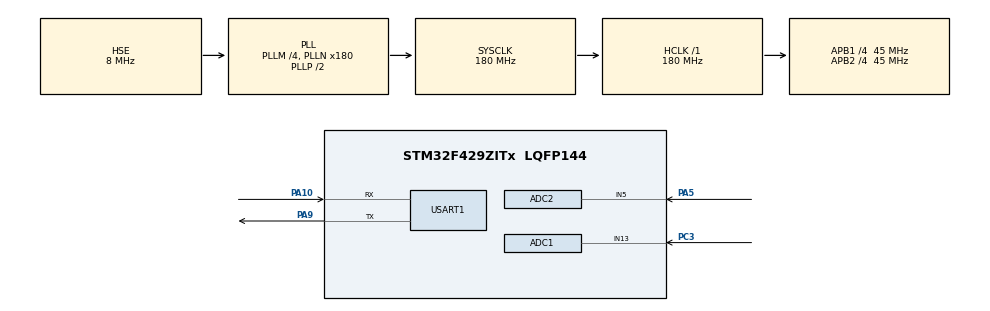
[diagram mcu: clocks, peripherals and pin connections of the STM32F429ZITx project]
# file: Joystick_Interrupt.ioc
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ADC1.Channel-0\#ChannelRegularConversion=ADC_CHANNEL_13
ADC1.ClockPrescaler=ADC_CLOCK_SYNC_PCLK_DIV4
ADC1.NbrOfConversionFlag=1
ADC1.Rank-0\#ChannelRegularConversion=1
ADC1.Resolution=ADC_RESOLUTION_8B
ADC1.SamplingTime-0\#ChannelRegularConversion=ADC_SAMPLETIME_3CYCLES
ADC1.master=1
ADC2.Channel-0\#ChannelRegularConversion=ADC_CHANNEL_5
ADC2.ClockPrescaler=ADC_CLOCK_SYNC_PCLK_DIV4
ADC2.NbrOfConversionFlag=1
ADC2.Rank-0\#ChannelRegularConversion=1
ADC2.Resolution=ADC_RESOLUTION_8B
ADC2.SamplingTime-0\#ChannelRegularConversion=ADC_SAMPLETIME_3CYCLES
Mcu.Family=STM32F4
Mcu.Name=STM32F429ZITx
Mcu.Package=LQFP144
NVIC.ADC_IRQn=true\:0\:0\:false\:false\:true\:true\:true\:true
NVIC.PriorityGroup=NVIC_PRIORITYGROUP_4
PA10.Mode=Asynchronous
PA10.Signal=USART1_RX
PA5.Signal=ADCx_IN5
PA9.Mode=Asynchronous
PA9.Signal=USART1_TX
PC3.Signal=ADCx_IN13
PH0/OSC_IN.Mode=HSE-External-Oscillator
PH0/OSC_IN.Signal=RCC_OSC_IN
PH1/OSC_OUT.Mode=HSE-External-Oscillator
PH1/OSC_OUT.Signal=RCC_OSC_OUT
ProjectManager.HeapSize=0x200
ProjectManager.StackSize=0x400
ProjectManager.TargetToolchain=STM32CubeIDE
RCC.48MHZClocksFreq_Value=90000000
RCC.AHBFreq_Value=180000000
RCC.APB1CLKDivider=RCC_HCLK_DIV4
RCC.APB1Freq_Value=45000000
RCC.APB1TimFreq_Value=90000000
RCC.APB2CLKDivider=RCC_HCLK_DIV4
RCC.APB2Freq_Value=45000000
RCC.APB2TimFreq_Value=90000000
RCC.CortexFreq_Value=180000000
RCC.HCLKFreq_Value=180000000
RCC.HSE_VALUE=8000000
RCC.HSI_VALUE=16000000
RCC.LSE_VALUE=32768
RCC.PLLM=4
RCC.PLLN=180
RCC.PLLSourceVirtual=RCC_PLLSOURCE_HSE
RCC.SYSCLKFreq_VALUE=180000000
RCC.SYSCLKSource=RCC_SYSCLKSOURCE_PLLCLK
RCC.VCOOutputFreq_Value=360000000
SH.ADCx_IN13.0=ADC1_IN13,IN13
SH.ADCx_IN5.0=ADC2_IN5,IN5
USART1.VirtualMode=VM_ASYNC
board=custom

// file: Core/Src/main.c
/* USER CODE BEGIN Header */
/**
 ******************************************************************************
 * @file           : main.c
 * @brief          : Main program body
 ******************************************************************************
 * @attention
 *
 * Copyright (c) 2025 STMicroelectronics.
 * All rights reserved.
 *
 * This software is licensed under terms that can be found in the LICENSE file
 * in the root directory of this software component.
 * If no LICENSE file comes with this software, it is provided AS-IS.
 *
 ******************************************************************************
 */
/* USER CODE END Header */
#include "main.h"

/* USER CODE BEGIN Includes */
#include <stdio.h>
#include <string.h>
/* USER CODE END Includes */

/* USER CODE BEGIN PD */
#define ADC_BUF_LEN 1000
/* USER CODE END PD */

ADC_HandleTypeDef hadc1;
ADC_HandleTypeDef hadc2;

UART_HandleTypeDef huart1;

/* USER CODE BEGIN PV */
uint8_t adc1_buf[ADC_BUF_LEN];
uint16_t adc1_count = 0;
uint8_t adc2_buf[ADC_BUF_LEN];
uint16_t adc2_count = 0;
/* USER CODE END PV */

void SystemClock_Config(void);
static void MX_GPIO_Init(void);
static void MX_ADC1_Init(void);
static void MX_ADC2_Init(void);
static void MX_USART1_UART_Init(void);

int main(void) {

	/* MCU Configuration--------------------------------------------------------*/

	/* Reset of all peripherals, Initializes the Flash interface and the Systick. */
	HAL_Init();

	/* Configure the system clock */
	SystemClock_Config();

	/* Initialize all configured peripherals */
	MX_GPIO_Init();
	MX_ADC1_Init();
	MX_ADC2_Init();
	MX_USART1_UART_Init();
	/* USER CODE BEGIN 2 */
	char buf[20];
	uint8_t JoystickX;
	uint8_t JoystickY;
	unsigned int avg;
	HAL_ADC_Start_IT(&hadc1);
	HAL_ADC_Start_IT(&hadc2);
	/* USER CODE END 2 */

	/* Infinite loop */
	/* USER CODE BEGIN WHILE */
	while (1) {
		if (adc1_count >= 1000) {
			avg = 0;
			while (adc1_count > 0) {
				adc1_count--;
				avg += adc1_buf[adc1_count];
			}
			JoystickX = avg / 1000;
			sprintf(buf, "X: %d\n", JoystickX);
			HAL_UART_Transmit(&huart1, (uint8_t*) buf, strlen(buf), 10);

			HAL_ADC_Start_IT(&hadc1);
		}

		if (adc2_count >= 1000) {
			avg = 0;
			while (adc2_count > 0) {
				adc2_count--;
				avg += adc2_buf[adc2_count];
			}
			JoystickY = avg / 1000;
			sprintf(buf, "Y: %d\n", JoystickY);
			HAL_UART_Transmit(&huart1, (uint8_t*) buf, strlen(buf), 10);

			HAL_ADC_Start_IT(&hadc2);
		}

		HAL_Delay(10);
		/* USER CODE END WHILE */

	}
}

void SystemClock_Config(void) {
	RCC_OscInitTypeDef RCC_OscInitStruct = { 0 };
	RCC_ClkInitTypeDef RCC_ClkInitStruct = { 0 };

	/** Configure the main internal regulator output voltage
	 */
	__HAL_RCC_PWR_CLK_ENABLE();
	__HAL_PWR_VOLTAGESCALING_CONFIG(PWR_REGULATOR_VOLTAGE_SCALE1);

	/** Initializes the RCC Oscillators according to the specified parameters
	 * in the RCC_OscInitTypeDef structure.
	 */
	RCC_OscInitStruct.OscillatorType = RCC_OSCILLATORTYPE_HSE;
	RCC_OscInitStruct.HSEState = RCC_HSE_ON;
	RCC_OscInitStruct.PLL.PLLState = RCC_PLL_ON;
	RCC_OscInitStruct.PLL.PLLSource = RCC_PLLSOURCE_HSE;
	RCC_OscInitStruct.PLL.PLLM = 4;
	RCC_OscInitStruct.PLL.PLLN = 180;
	RCC_OscInitStruct.PLL.PLLP = RCC_PLLP_DIV2;
	RCC_OscInitStruct.PLL.PLLQ = 4;
	if (HAL_RCC_OscConfig(&RCC_OscInitStruct) != HAL_OK) {
		Error_Handler();
	}

	/** Activate the Over-Drive mode
	 */
	if (HAL_PWREx_EnableOverDrive() != HAL_OK) {
		Error_Handler();
	}

	/** Initializes the CPU, AHB and APB buses clocks
	 */
	RCC_ClkInitStruct.ClockType = RCC_CLOCKTYPE_HCLK | RCC_CLOCKTYPE_SYSCLK
			| RCC_CLOCKTYPE_PCLK1 | RCC_CLOCKTYPE_PCLK2;
	RCC_ClkInitStruct.SYSCLKSource = RCC_SYSCLKSOURCE_PLLCLK;
	RCC_ClkInitStruct.AHBCLKDivider = RCC_SYSCLK_DIV1;
	RCC_ClkInitStruct.APB1CLKDivider = RCC_HCLK_DIV4;
	RCC_ClkInitStruct.APB2CLKDivider = RCC_HCLK_DIV4;

	if (HAL_RCC_ClockConfig(&RCC_ClkInitStruct, FLASH_LATENCY_5) != HAL_OK) {
		Error_Handler();
	}
}

static void MX_ADC1_Init(void) {

	ADC_ChannelConfTypeDef sConfig = { 0 };

	/** Configure the global features of the ADC (Clock, Resolution, Data Alignment and number of conversion)
	 */
	hadc1.Instance = ADC1;
	hadc1.Init.ClockPrescaler = ADC_CLOCK_SYNC_PCLK_DIV4;
	hadc1.Init.Resolution = ADC_RESOLUTION_8B;
	hadc1.Init.ScanConvMode = DISABLE;
	hadc1.Init.ContinuousConvMode = DISABLE;
	hadc1.Init.DiscontinuousConvMode = DISABLE;
	hadc1.Init.ExternalTrigConvEdge = ADC_EXTERNALTRIGCONVEDGE_NONE;
	hadc1.Init.ExternalTrigConv = ADC_SOFTWARE_START;
	hadc1.Init.DataAlign = ADC_DATAALIGN_RIGHT;
	hadc1.Init.NbrOfConversion = 1;
	hadc1.Init.DMAContinuousRequests = DISABLE;
	hadc1.Init.EOCSelection = ADC_EOC_SINGLE_CONV;
	if (HAL_ADC_Init(&hadc1) != HAL_OK) {
		Error_Handler();
	}

	/** Configure for the selected ADC regular channel its corresponding rank in the sequencer and its sample time.
	 */
	sConfig.Channel = ADC_CHANNEL_13;
	sConfig.Rank = 1;
	sConfig.SamplingTime = ADC_SAMPLETIME_3CYCLES;
	if (HAL_ADC_ConfigChannel(&hadc1, &sConfig) != HAL_OK) {
		Error_Handler();
	}

}

static void MX_ADC2_Init(void) {

	ADC_ChannelConfTypeDef sConfig = { 0 };

	/** Configure the global features of the ADC (Clock, Resolution, Data Alignment and number of conversion)
	 */
	hadc2.Instance = ADC2;
	hadc2.Init.ClockPrescaler = ADC_CLOCK_SYNC_PCLK_DIV4;
	hadc2.Init.Resolution = ADC_RESOLUTION_8B;
	hadc2.Init.ScanConvMode = DISABLE;
	hadc2.Init.ContinuousConvMode = DISABLE;
	hadc2.Init.DiscontinuousConvMode = DISABLE;
	hadc2.Init.ExternalTrigConvEdge = ADC_EXTERNALTRIGCONVEDGE_NONE;
	hadc2.Init.ExternalTrigConv = ADC_SOFTWARE_START;
	hadc2.Init.DataAlign = ADC_DATAALIGN_RIGHT;
	hadc2.Init.NbrOfConversion = 1;
	hadc2.Init.DMAContinuousRequests = DISABLE;
	hadc2.Init.EOCSelection = ADC_EOC_SINGLE_CONV;
	if (HAL_ADC_Init(&hadc2) != HAL_OK) {
		Error_Handler();
	}

	/** Configure for the selected ADC regular channel its corresponding rank in the sequencer and its sample time.
	 */
	sConfig.Channel = ADC_CHANNEL_5;
	sConfig.Rank = 1;
	sConfig.SamplingTime = ADC_SAMPLETIME_3CYCLES;
	if (HAL_ADC_ConfigChannel(&hadc2, &sConfig) != HAL_OK) {
		Error_Handler();
	}

}

static void MX_USART1_UART_Init(void) {

	huart1.Instance = USART1;
	huart1.Init.BaudRate = 115200;
	huart1.Init.WordLength = UART_WORDLENGTH_8B;
	huart1.Init.StopBits = UART_STOPBITS_1;
	huart1.Init.Parity = UART_PARITY_NONE;
	huart1.Init.Mode = UART_MODE_TX_RX;
	huart1.Init.HwFlowCtl = UART_HWCONTROL_NONE;
	huart1.Init.OverSampling = UART_OVERSAMPLING_16;
	if (HAL_UART_Init(&huart1) != HAL_OK) {
		Error_Handler();
	}

}

static void MX_GPIO_Init(void) {

	/* GPIO Ports Clock Enable */
	__HAL_RCC_GPIOH_CLK_ENABLE();
	__HAL_RCC_GPIOC_CLK_ENABLE();
	__HAL_RCC_GPIOA_CLK_ENABLE();

}

/* USER CODE BEGIN 4 */
void HAL_ADC_ConvCpltCallback(ADC_HandleTypeDef *hadc) {
	if (hadc->Instance == ADC1) {
		adc1_buf[adc1_count] = HAL_ADC_GetValue(&hadc1);
		adc1_count++;
		if (adc1_count < 1000) {
			HAL_ADC_Start_IT(&hadc1);
		}
	} else if (hadc->Instance == ADC2) {
		adc2_buf[adc2_count] = HAL_ADC_GetValue(&hadc2);
		adc2_count++;
		if (adc2_count < 1000) {
			HAL_ADC_Start_IT(&hadc2);
		}
	}
}
/* USER CODE END 4 */

void Error_Handler(void) {
	__disable_irq();
	while (1) {
	}
}
